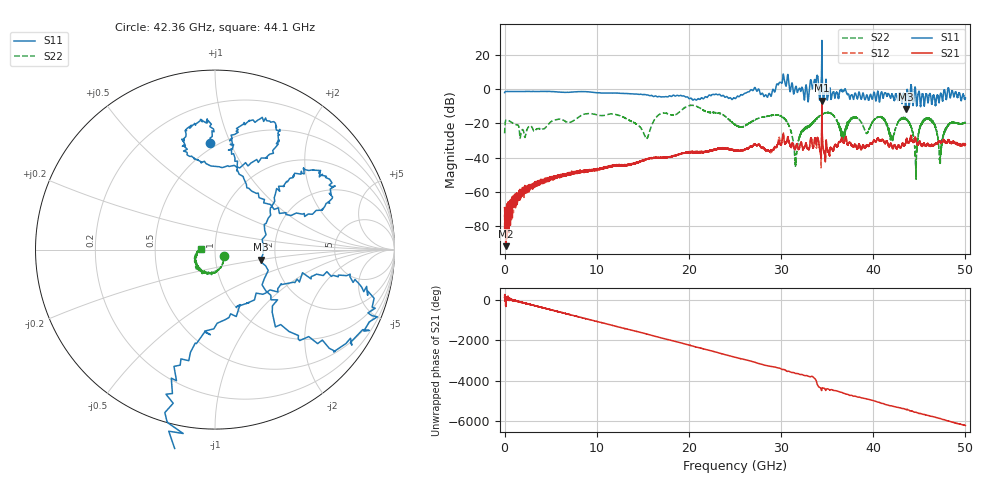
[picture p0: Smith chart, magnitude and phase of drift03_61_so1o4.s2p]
!Created with skrf (http://scikit-rf.org).
# Hz S RI R 50.0
!freq ReS11 ImS11 ReS21 ImS21 ReS12 ImS12 ReS22 ImS22
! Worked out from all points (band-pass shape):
!   10000 points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, 5.3 MHz to 50 GHz, reference 50 ohm
!   highest |S21| = -6.70 dB at 34.43 GHz (marker M1); lowest = -91.7 dB at 175.3 MHz (marker M2)
!   |S21| within 3 dB of the highest: 34.42745 GHz to 34.43452 GHz (7.067 MHz wide, 0.0205 % of centre)
!   lowest |S11| = -11.7 dB at 43.53 GHz (marker M3), VSWR 1.71, Z = 83.4 - j10 ohm
!   |S11| at or under -10 dB: 43.48673 GHz to 43.54451 GHz (57.78 MHz wide, 0.133 % of centre); 45.13473 GHz to 45.14345 GHz (8.719 MHz wide, 0.0193 % of centre); 45.53927 GHz to 45.54099 GHz (1.714 MHz wide, 0.00376 % of centre)
!   |S22| runs from -52.6 to -9.4 dB; largest |S21 - S12| = 0.13
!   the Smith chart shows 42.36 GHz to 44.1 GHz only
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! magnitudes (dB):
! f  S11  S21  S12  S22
! 5.3 MHz  -2.1  -69.2  -73.2  -25.9
! 175.3 MHz  -1.4  -91.7  -79.2  -18.1
! 2.495 GHz  -1.4  -58.3  -58.6  -22.9
! 8.34 GHz  -1.5  -47.8  -47.9  -15.3
! 15.4 GHz  -3.5  -40.9  -41.0  -28.9
! 16.67 GHz  -4.4  -39.9  -40.1  -15.3
! 20.45 GHz  -6.5  -37.1  -36.7  -9.5
! 25.01 GHz  -5.5  -35.6  -35.9  -20.8
! 29.95 GHz  3.9  -32.6  -32.1  -15.6
! 31.59 GHz  1.4  -33.7  -33.9  -43.4
! 33.34 GHz  2.7  -30.4  -30.6  -20.4
! 34.43 GHz  28.4  -6.7  -8.5  -14.5
! 36.68 GHz  -1.5  -29.6  -29.6  -30.0
! 37.97 GHz  -3.1  -32.4  -32.4  -16.1
! 41.67 GHz  -2.9  -33.3  -33.2  -23.6
! 43.53 GHz  -11.7  -31.4  -31.3  -17.1
! 44.61 GHz  -1.2  -28.9  -29.2  -41.6
! 45.65 GHz  -4.9  -33.3  -33.0  -17.2
! 46.57 GHz  -3.5  -32.7  -32.9  -19.8
! 47.26 GHz  -3.4  -30.6  -30.7  -40.8
! 48.2 GHz  0.1  -30.5  -29.9  -20.6
! 50 GHz  -5.2  -32.4  -32.6  -19.5
